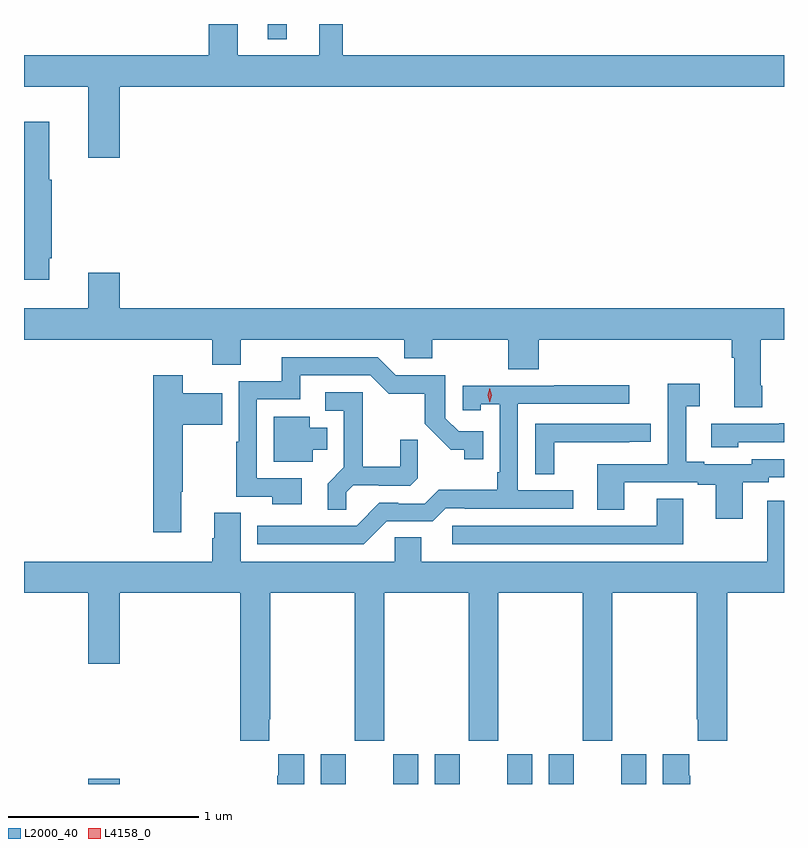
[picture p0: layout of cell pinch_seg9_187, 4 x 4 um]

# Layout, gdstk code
import gdstk
lib = gdstk.Library(unit=1e-6, precision=1e-09)
def R(c, l, rs):  # rectangles x0, y0, x1, y1
    for r in rs: c.add(gdstk.rectangle(r[:2], r[2:], *l))
def P(c, l, *ps):  # polygons
    for p in ps: c.add(gdstk.Polygon(p, *l))
L2000_40 = (2000, 40)
L4158_0 = (4158, 0)

pinch_seg9_187 = lib.new_cell('pinch_seg9_187')
R(pinch_seg9_187, L2000_40, [(632.54,1224.717,632.704,1224.745), (633.764,1224.717,633.895,1224.874), (634.145,1224.717,634.276,1224.874), (634.364,1224.717,634.495,1224.874), (634.745,1224.717,634.876,1224.874), (634.964,1224.717,635.095,1224.874), (635.345,1224.717,635.476,1224.874), (633.485,1228.637,633.583,1228.717)])
P(pinch_seg9_187, L2000_40, [(632.704,1228.388),(636.201,1228.388),(636.201,1228.552),(633.878,1228.552),(633.878,1228.717),(633.755,1228.717),(633.755,1228.552),(633.325,1228.552),(633.325,1228.717),(633.173,1228.717),(633.173,1228.552),(632.201,1228.552),(632.201,1228.388),(632.54,1228.388),(632.54,1228.014),(632.704,1228.014)],
  [(632.335,1227.484),(632.348,1227.484),(632.348,1227.897),(632.335,1227.897),(632.335,1228.202),(632.201,1228.202),(632.201,1227.372),(632.335,1227.372)],
  [(632.704,1227.409),(632.54,1227.409),(632.54,1227.22),(632.201,1227.22),(632.201,1227.056),(633.191,1227.056),(633.191,1226.923),(633.343,1226.923),(633.343,1227.056),(634.203,1227.056),(634.203,1226.958),(634.35,1226.958),(634.35,1227.056),(634.75,1227.056),(634.75,1226.899),(634.91,1226.899),(634.91,1227.056),(635.927,1227.056),(635.927,1226.96),(635.939,1226.96),(635.939,1226.7),(636.087,1226.7),(636.087,1226.812),(636.079,1226.812),(636.079,1227.056),(636.201,1227.056),(636.201,1227.22),(632.704,1227.22)],
  [(633.664,1226.325),(633.426,1226.325),(633.426,1226.742),(633.655,1226.742),(633.655,1226.868),(634.023,1226.868),(634.122,1226.77),(634.311,1226.77),(634.311,1226.614),(634.448,1226.477),(634.518,1226.477),(634.518,1226.427),(634.619,1226.427),(634.619,1226.574),(634.488,1226.574),(634.419,1226.643),(634.419,1226.868),(634.158,1226.868),(634.062,1226.964),(633.557,1226.964),(633.557,1226.838),(633.33,1226.838),(633.33,1226.519),(633.318,1226.519),(633.318,1226.229),(633.508,1226.229),(633.508,1226.189),(633.664,1226.189)],
  [(633.028,1226.255),(633.036,1226.255),(633.036,1226.608),(633.245,1226.608),(633.245,1226.773),(633.036,1226.773),(633.036,1226.869),(632.882,1226.869),(632.882,1226.043),(633.028,1226.043)],
  [(635.983,1226.304),(636.12,1226.304),(636.12,1226.331),(636.201,1226.331),(636.201,1226.427),(636.03,1226.427),(636.03,1226.4),(635.782,1226.4),(635.782,1226.413),(635.686,1226.413),(635.686,1226.704),(635.758,1226.704),(635.758,1226.824),(635.589,1226.824),(635.589,1226.4),(635.219,1226.4),(635.219,1226.161),(635.359,1226.161),(635.359,1226.304),(635.747,1226.304),(635.747,1226.292),(635.843,1226.292),(635.843,1226.112),(635.983,1226.112)],
  [(634.11,1226.1),(634.353,1226.1),(634.422,1226.169),(634.522,1226.169),(634.522,1226.166),(635.092,1226.166),(635.092,1226.262),(634.8,1226.262),(634.8,1226.718),(635.386,1226.718),(635.386,1226.817),(634.993,1226.817),(634.993,1226.814),(634.509,1226.814),(634.509,1226.685),(634.605,1226.685),(634.605,1226.717),(634.704,1226.717),(634.704,1226.359),(634.692,1226.359),(634.692,1226.266),(634.384,1226.266),(634.311,1226.193),(634.172,1226.193),(634.172,1226.196),(634.071,1226.196),(633.951,1226.076),(633.428,1226.076),(633.428,1225.98),(633.99,1225.98)],
  [(633.897,1226.252),(633.934,1226.289),(634.068,1226.289),(634.068,1226.286),(634.233,1226.286),(634.274,1226.327),(634.274,1226.529),(634.18,1226.529),(634.18,1226.386),(633.983,1226.386),(633.983,1226.778),(633.786,1226.778),(633.786,1226.682),(633.885,1226.682),(633.885,1226.383),(633.799,1226.297),(633.799,1226.161),(633.897,1226.161)],
  [(633.721,1226.477),(633.796,1226.477),(633.796,1226.593),(633.706,1226.593),(633.706,1226.65),(633.515,1226.65),(633.515,1226.414),(633.721,1226.414)],
  [(635.961,1226.517),(636.201,1226.517),(636.201,1226.616),(636.175,1226.616),(636.175,1226.613),(635.817,1226.613),(635.817,1226.489),(635.961,1226.489)],
  [(634.992,1226.517),(635.387,1226.517),(635.387,1226.518),(635.5,1226.518),(635.5,1226.613),(634.893,1226.613),(634.893,1226.347),(634.992,1226.347)],
  [(635.671,1226.219),(635.531,1226.219),(635.531,1226.076),(634.455,1226.076),(634.455,1225.98),(635.671,1225.98)],
  [(632.201,1225.724),(632.54,1225.724),(632.54,1225.35),(632.704,1225.35),(632.704,1225.724),(633.338,1225.724),(633.338,1224.945),(633.493,1224.945),(633.493,1225.057),(633.498,1225.057),(633.498,1225.724),(633.943,1225.724),(633.943,1224.945),(634.098,1224.945),(634.098,1225.724),(634.543,1225.724),(634.543,1224.945),(634.698,1224.945),(634.698,1225.724),(635.143,1225.724),(635.143,1224.945),(635.298,1224.945),(635.298,1225.724),(635.743,1225.724),(635.743,1225.057),(635.747,1225.057),(635.747,1224.945),(635.903,1224.945),(635.903,1225.724),(636.201,1225.724),(636.201,1226.209),(636.113,1226.209),(636.113,1225.888),(634.291,1225.888),(634.291,1226.015),(634.152,1226.015),(634.152,1225.888),(633.343,1225.888),(633.343,1226.144),(633.203,1226.144),(633.203,1226.01),(633.191,1226.01),(633.191,1225.888),(632.201,1225.888)],
  [(635.708,1224.761),(635.701,1224.761),(635.701,1224.874),(635.564,1224.874),(635.564,1224.717),(635.708,1224.717)],
  [(633.676,1224.874),(633.539,1224.874),(633.539,1224.761),(633.533,1224.761),(633.533,1224.717),(633.676,1224.717)])
P(pinch_seg9_187, L4158_0, [(634.651,1226.727),(634.651,1226.727),(634.642,1226.763),(634.652,1226.799),(634.652,1226.799),(634.653,1226.799),(634.662,1226.763),(634.651,1226.727)])

lib.write_gds('pinch_seg9_187.gds')
